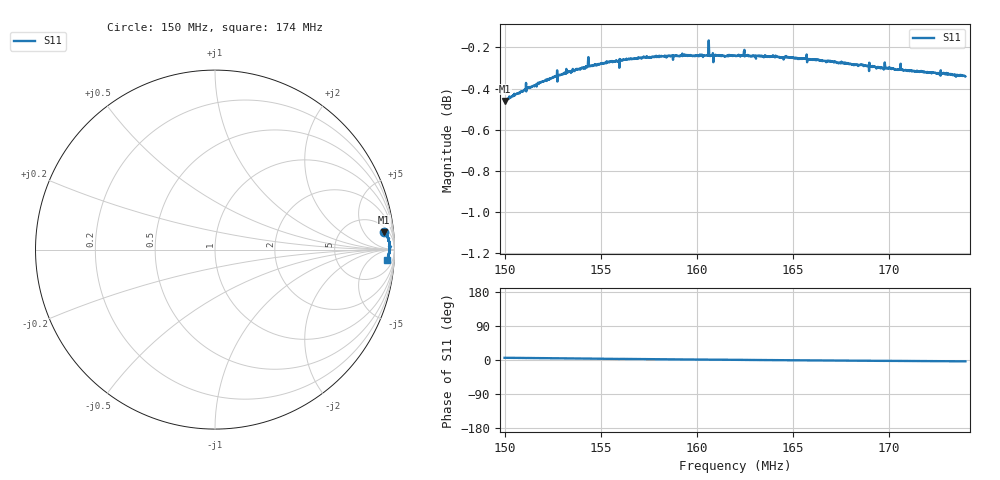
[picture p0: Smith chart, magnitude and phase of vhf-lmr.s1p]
! Calibrated averaged scanner-service zoom
# Hz S RI R 50
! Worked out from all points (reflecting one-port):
!   2001 points, 150 MHz to 174 MHz, reference 50 ohm
!   lowest |S11| = -0.5 dB at 150 MHz (marker M1), VSWR 37.74, Z = 402 + j771 ohm
!   phase of S11 starts at 6 deg and turns -9 deg over the sweep
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1.5e8  0.9436 0.0966
1.50036e8  0.9435 0.0965
1.5096e8  0.9495 0.0895
1.51008e8  0.9499 0.0895
1.51212e8  0.9515 0.0875
1.5126e8  0.9515 0.0872
1.518e8  0.9544 0.0833
1.53e8  0.9599 0.0736
1.54212e8  0.9646 0.0635
1.54332e8  0.9648 0.0626
1.54548e8  0.9652 0.061
1.55832e8  0.9685 0.051
1.56e8  0.9698 0.044
1.56156e8  0.9695 0.0483
1.57308e8  0.9709 0.0391
1.59e8  0.9724 0.0265
1.60452e8  0.9727 0.016
1.60524e8  0.9727 0.0163
1.60728e8  0.9726 0.0151
1.60788e8  0.9727 0.0148
1.61112e8  0.9727 0.0123
1.62e8  0.9727 0.00691
1.62564e8  0.9727 0.00343
1.62792e8  0.9725 0.00184
1.65e8  0.9717 -0.012
1.68e8  0.9679 -0.0291
1.71e8  0.9634 -0.044
1.74e8  0.9597 -0.0591
